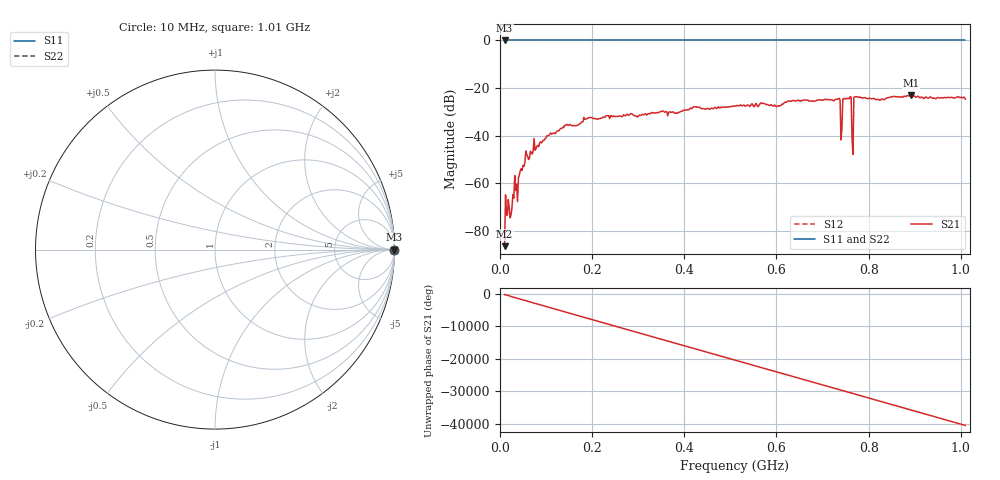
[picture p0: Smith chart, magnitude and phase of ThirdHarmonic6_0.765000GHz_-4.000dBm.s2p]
! 8/16/2025 1:33:19 AM
! C:\ANRITSUVNA\TEMP\TEMP.S2P
! CHANNEL.1
! TR.MEASUREMENT
! RAW.DATA
! RF.CORRECTION.OFF
! AVERAGING.OFF
! IF.BANDWIDTH: 5KHZ
! SWEEPTYPE:  FREQ.SWEEP(Linear)
! Reference Plane Port Info
! PORT:  PORT1  PORT2
! DISTANCE:  0  m  0  m
! TIME:  0  s  0  s
! PHASE.OFFSET:  0  deg.  0  deg.
! LOSS:  0  dB  0  dB
! REF.LOSS:  0  dB  0  dB
! REF.FREQ:  0  Hz  0  Hz
! Power Info
! POWER:  -20  dBm  -20  dBm
! EFF.POWER:  -20  dBm  -20  dBm
! SOURCE.ATTEN:  0  dB  0  dB
! TEST.ATTEN:  0  dB  0  dB
# GHZ S RI R 50.0
! FREQ.GHZ  S11RE  S11IM  S21RE  S21IM  S12RE  S12IM  S22RE  S22IM
!; PortSelection: Port_12
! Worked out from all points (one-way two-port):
!   501 points, 10 MHz to 1.01 GHz, reference 50 ohm
!   highest |S21| = -23.05 dB at 892 MHz (marker M1); lowest = -86.3 dB at 10 MHz (marker M2)
!   lowest |S11| = 0.0 dB at 10 MHz (marker M3)
!   |S11| at or under -10 dB: nowhere
!   |S22| runs from 0.0 to 0.0 dB; largest |S21 - S12| = 1.1
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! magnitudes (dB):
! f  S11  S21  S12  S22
! 10 MHz  0.0  -86.3  0.0  0.0
! 16 MHz  0.0  -73.3  0.0  0.0
! 26 MHz  0.0  -70.1  0.0  0.0
! 32 MHz  0.0  -56.7  0.0  0.0
! 54 MHz  0.0  -51.3  0.0  0.0
! 70 MHz  0.0  -47.7  0.0  0.0
! 106 MHz  0.0  -39.9  0.0  0.0
! 178 MHz  0.0  -34.1  0.0  0.0
! 344 MHz  0.0  -30.3  0.0  0.0
! 510 MHz  0.0  -27.5  0.0  0.0
! 678 MHz  0.0  -25.5  0.0  0.0
! 734 MHz  0.0  -24.5  0.0  0.0
! 738 MHz  0.0  -24.9  0.0  0.0
! 742 MHz  0.0  -37.2  0.0  0.0
! 748 MHz  0.0  -24.3  0.0  0.0
! 758 MHz  0.0  -24.4  0.0  0.0
! 762 MHz  0.0  -23.8  0.0  0.0
! 768 MHz  0.0  -23.9  0.0  0.0
! 772 MHz  0.0  -23.7  0.0  0.0
! 844 MHz  0.0  -23.9  0.0  0.0
! 892 MHz  0.0  -23.0  0.0  0.0
! 1.01 GHz  0.0  -24.7  0.0  0.0
